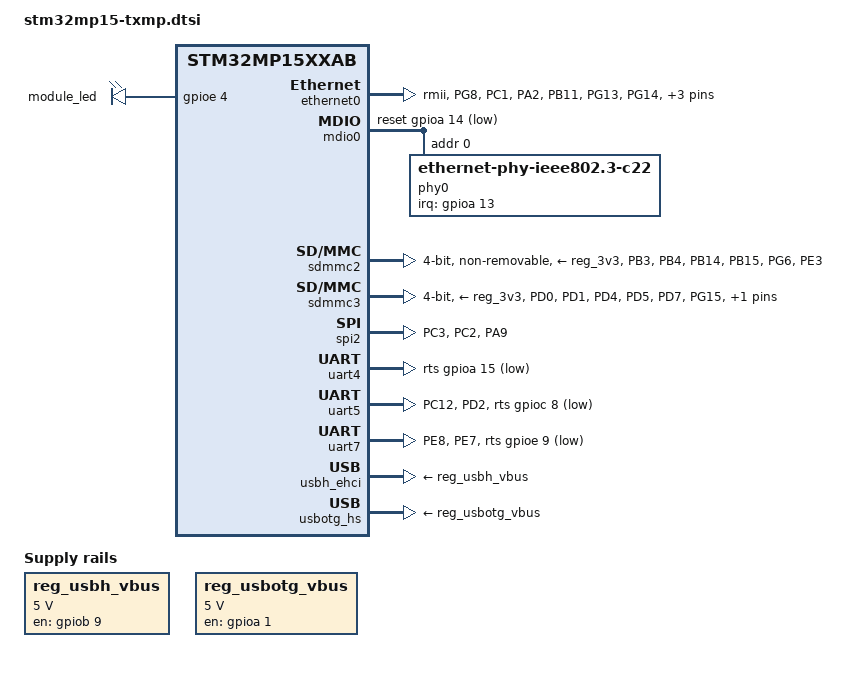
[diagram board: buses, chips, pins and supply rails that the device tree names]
// SPDX-License-Identifier: (GPL-2.0 OR BSD-3-Clause)
/*
 * Copyright (C) 2020 Lothar Waßmann <LW@KARO-electronics.de>
 */

#include <dt-bindings/pinctrl/stm32-pinfunc.h>
#include "stm32mp15xxab-pinctrl.dtsi"
#include "stm32mp15-karo.dtsi"

/ {
	aliases {
		can0 = &m_can2;
		mmc1 = &sdmmc3;
		serial1 = &uart7;
		serial2 = &uart5;
	};

	reg_usbh_vbus: regulator-usbh-vbus {
		compatible = "regulator-fixed";
		regulator-name = "USBH VBUS";
		regulator-min-microvolt = <5000000>;
		regulator-max-microvolt = <5000000>;
		enable-active-high;
		gpio = <&gpiob 9 GPIO_ACTIVE_HIGH>;
		regulator-always-on;
	};

	reg_usbotg_vbus: regulator-usbotg-vbus {
		compatible = "regulator-fixed";
		regulator-name = "USBOTG VBUS";
		regulator-min-microvolt = <5000000>;
		regulator-max-microvolt = <5000000>;
		enable-active-high;
		gpio = <&gpioa 1 GPIO_ACTIVE_HIGH>;
	};
};

&ethernet0 {
	pinctrl-0 = <&txmp_ethernet0_rmii_pins>;
	pinctrl-1 = <&txmp_ethernet0_rmii_sleep_pins>;
	phy-mode = "rmii";
	st,eth-ref-clk-sel;
};

&mdio0 {
	reset-gpios = <&gpioa 14 GPIO_ACTIVE_LOW>;
	reset-delay-us = <10000>;
	post-reset-delay-us = <1000>;

	phy0: ethernet-phy@0 {
		compatible = "ethernet-phy-ieee802.3-c22";
		reg = <0>;
		interrupt-parent = <&gpioa>;
		interrupts = <13 IRQ_TYPE_EDGE_FALLING>;
		smsc,disable-energy-detect;
	};
};

&module_led {
	gpios = <&gpioe 4 GPIO_ACTIVE_HIGH>;
};

&sdmmc2 {
	/* eMMC */
	pinctrl-names = "default", "opendrain", "sleep";
	pinctrl-0 = <&txmp_sdmmc2_pins>;
	pinctrl-1 = <&txmp_sdmmc2_opendrain_pins>;
	pinctrl-2 = <&txmp_sdmmc2_sleep_pins>;
	bus-width = <4>;
	vmmc-supply = <&reg_3v3>;
	no-1-8-v;
	no-sd;
	no-sdio;
	st,neg-edge;
	non-removable;
	status = "okay";
};

&sdmmc3 {
	/* SD card slot */
	pinctrl-names = "default", "opendrain", "sleep";
	pinctrl-0 = <&txmp_sdmmc3_pins>;
	pinctrl-1 = <&txmp_sdmmc3_opendrain_pins>;
	pinctrl-2 = <&txmp_sdmmc3_sleep_pins>;
	cd-gpios = <&gpioc 11 GPIO_ACTIVE_LOW>;
	bus-width = <4>;
	vmmc-supply = <&reg_3v3>;
	no-1-8-v;
	st,neg-edge;
	st,use-ckin;
	status = "okay";
};

&spi2 {
	pinctrl-names = "default", "sleep";
	pinctrl-0 = <&txmp_spi2_pins>;
	pinctrl-1 = <&txmp_spi2_sleep_pins>;
	cs-gpios = <&gpiob 12 GPIO_ACTIVE_LOW>;
	status = "okay";
};

&uart4 {
	/delete-property/ dma-names;
	/delete-property/ dmas;
	rts-gpios = <&gpioa 15 GPIO_ACTIVE_LOW>;
};

&uart5 {
	pinctrl-names = "default", "sleep";
	pinctrl-0 = <&txmp_uart5_pins>;
	pinctrl-1 = <&txmp_uart5_sleep_pins>;
	/delete-property/ dma-names;
	/delete-property/ dmas;
	rts-gpios = <&gpioc 8 GPIO_ACTIVE_LOW>;
	cts-gpios = <&gpioc 9 (GPIO_ACTIVE_LOW | GPIO_PULL_UP)>;
	status = "okay";
};

&uart7 {
	pinctrl-names = "default", "sleep";
	pinctrl-0 = <&txmp_uart7_pins>;
	pinctrl-1 = <&txmp_uart7_sleep_pins>;
	/delete-property/ dma-names;
	/delete-property/ dmas;
	rts-gpios = <&gpioe 9 GPIO_ACTIVE_LOW>;
	cts-gpios = <&gpioe 10 (GPIO_ACTIVE_LOW | GPIO_PULL_UP)>;
	status = "okay";
};

&usbh_ehci {
	vbus-supply = <&reg_usbh_vbus>;
};

&usbotg_hs {
	vbus-supply = <&reg_usbotg_vbus>;
};

&pinctrl {
	txmp_ethernet0_rmii_pins: txmp-ethernet0-rmii-pins {
		pins1 {
			pinmux = <
				  STM32_PINMUX('G', 8, AF2)	/* ETH_CLK */
				  STM32_PINMUX('C', 1, AF11)	/* ETH_MDC */
				  STM32_PINMUX('A', 2, AF11)	/* ETH_MDIO */
				  STM32_PINMUX('B', 11, AF11)	/* ETH_RMII_TX_EN */
				  STM32_PINMUX('G', 13, AF11)	/* ETH_RMII_TXD0 */
				  STM32_PINMUX('G', 14, AF11)	/* ETH_RMII_TXD1 */
			>;
			bias-disable;
			drive-push-pull;
			slew-rate = <2>;
		};

		pins2 {
			pinmux = <
				  STM32_PINMUX('C', 4, AF11)	/* ETH_RMII_RXD0 */
				  STM32_PINMUX('C', 5, AF11)	/* ETH_RMII_RXD1 */
				  STM32_PINMUX('A', 7, AF11)	/* ETH_RMII_CRS_DV */
			>;
			bias-disable;
		};
	};

	txmp_ethernet0_rmii_sleep_pins: txmp-ethernet0-rmii-sleep-pins {
		pins1 {
			pinmux = <
				  STM32_PINMUX('G', 8, ANALOG)	/* ETH_CLK */
				  STM32_PINMUX('G', 13, ANALOG)	/* ETH_RMII_TXD0 */
				  STM32_PINMUX('G', 14, ANALOG)	/* ETH_RMII_TXD1 */
				  STM32_PINMUX('B', 11, ANALOG)	/* ETH_RMII_TX_EN */
				  STM32_PINMUX('A', 2, ANALOG)	/* ETH_MDIO */
				  STM32_PINMUX('C', 1, ANALOG)	/* ETH_MDC */
				  STM32_PINMUX('C', 4, ANALOG)	/* ETH_RMII_RXD0 */
				  STM32_PINMUX('C', 5, ANALOG)	/* ETH_RMII_RXD1 */
				  STM32_PINMUX('A', 7, ANALOG)	/* ETH_RMII_CRS_DV */
			>;
		};
	};

	txmp_sdmmc2_pins: txmp-sdmmc2-pins {
		pins1 {
			pinmux = <
				  STM32_PINMUX('B', 3, AF9)	/* SDMMC2_D2 */
				  STM32_PINMUX('B', 4, AF9)	/* SDMMC2_D3 */
				  STM32_PINMUX('B', 14, AF9)	/* SDMMC2_D0 */
				  STM32_PINMUX('B', 15, AF9)	/* SDMMC2_D1 */
				  STM32_PINMUX('G', 6, AF10)	/* SDMMC2_CMD */
			>;
			bias-disable;
			drive-push-pull;
			slew-rate = <1>;
		};

		pins2 {
			pinmux = <STM32_PINMUX('E', 3, AF9)>; /* SDMMC2_CK */
			bias-disable;
			drive-push-pull;
			slew-rate = <3>;
		};
	};

	txmp_sdmmc2_opendrain_pins: txmp-sdmmc2-opendrain-pins {
		pins1 {
			pinmux = <
				  STM32_PINMUX('G', 6, AF10)	/* SDMMC2_CMD */
			>;
			bias-disable;
			drive-open-drain;
			slew-rate = <1>;
		};

		pins2 {
			pinmux = <
				  STM32_PINMUX('B', 3, AF9)	/* SDMMC2_D2 */
				  STM32_PINMUX('B', 4, AF9)	/* SDMMC2_D3 */
				  STM32_PINMUX('B', 14, AF9)	/* SDMMC2_D0 */
				  STM32_PINMUX('B', 15, AF9)	/* SDMMC2_D1 */
			>;
			bias-disable;
			drive-push-pull;
			slew-rate = <1>;
		};

		pins3 {
			pinmux = <STM32_PINMUX('E', 3, AF9)>; /* SDMMC2_CK */
			bias-disable;
			drive-push-pull;
			slew-rate = <3>;
		};
	};

	txmp_sdmmc2_sleep_pins: txmp-sdmmc2-sleep-pins {
		pins {
			pinmux = <
				  STM32_PINMUX('B', 3, ANALOG)	/* SDMMC2_D2 */
				  STM32_PINMUX('B', 4, ANALOG)	/* SDMMC2_D3 */
				  STM32_PINMUX('B', 14, ANALOG)	/* SDMMC2_D0 */
				  STM32_PINMUX('B', 15, ANALOG)	/* SDMMC2_D1 */
				  STM32_PINMUX('G', 6, ANALOG)	/* SDMMC2_CMD */
				  STM32_PINMUX('E', 3, ANALOG)	/* SDMMC2_CK */
			>;
		};
	};

	txmp_sdmmc3_pins: txmp-sdmmc3-pins {
		pins1 {
			pinmux = <
				  STM32_PINMUX('D', 0, AF10)	/* SDMMC3_CMD */
				  STM32_PINMUX('D', 1, AF10)	/* SDMMC3_D0 */
				  STM32_PINMUX('D', 4, AF10)	/* SDMMC3_D1 */
				  STM32_PINMUX('D', 5, AF10)	/* SDMMC3_D2 */
				  STM32_PINMUX('D', 7, AF10)	/* SDMMC3_D3 */
			>;
			bias-disable;
			drive-push-pull;
			slew-rate = <1>;
		};

		pins2 {
			pinmux = <STM32_PINMUX('G', 15, AF10)>; /* SDMMC3_CK */
			bias-disable;
			drive-push-pull;
			slew-rate = <2>;
		};
	};

	txmp_sdmmc3_opendrain_pins: txmp-sdmmc3-opendrain-pins {
		pins1 {
			pinmux = <STM32_PINMUX('D', 0, AF10)>; /* SDMMC3_CMD */
			bias-disable;
			drive-open-drain;
			slew-rate = <1>;
		};

		pins2 {
			pinmux = <
				  STM32_PINMUX('D', 1, AF10) /* SDMMC3_D0 */
				  STM32_PINMUX('D', 4, AF10) /* SDMMC3_D1 */
				  STM32_PINMUX('D', 5, AF10) /* SDMMC3_D2 */
				  STM32_PINMUX('D', 7, AF10) /* SDMMC3_D3 */
			>;
			bias-disable;
			drive-push-pull;
			slew-rate = <1>;
		};

		pins3 {
			pinmux = <STM32_PINMUX('G', 15, AF10)>; /* SDMMC3_CK */
			bias-disable;
			drive-push-pull;
			slew-rate = <3>;
		};
	};

	txmp_sdmmc3_sleep_pins: txmp-sdmmc3-sleep-pins {
		pins {
			pinmux = <
				  STM32_PINMUX('D', 0, ANALOG) /* SDMMC3_CMD */
				  STM32_PINMUX('D', 1, ANALOG) /* SDMMC3_D0 */
				  STM32_PINMUX('D', 4, ANALOG) /* SDMMC3_D1 */
				  STM32_PINMUX('D', 5, ANALOG) /* SDMMC3_D2 */
				  STM32_PINMUX('D', 7, ANALOG) /* SDMMC3_D3 */
				  STM32_PINMUX('G', 15, ANALOG) /* SDMMC3_CK */
			>;
		};
	};

	txmp_spi2_pins: txmp-spi2-pins {
		pins {
			pinmux = <
				  STM32_PINMUX('C', 3, AF5) /* SPI2_MOSI */
				  STM32_PINMUX('C', 2, AF5) /* SPI2_MISO */
				  STM32_PINMUX('A', 9, AF5) /* SPI2_SCK */
			>;
			bias-disable;
			drive-push-pull;
			slew-rate = <1>;
		};
	};

	txmp_spi2_sleep_pins: txmp-spi2-sleep-pins {
		pins {
			pinmux = <
				  STM32_PINMUX('C', 3, ANALOG) /* SPI2_MOSI */
				  STM32_PINMUX('C', 2, ANALOG) /* SPI2_MISO */
				  STM32_PINMUX('A', 9, ANALOG) /* SPI2_SCK */
			>;
		};
	};

	txmp_i2c6_pins: txmp-i2c6-pins {
		pins {
			pinmux = <
				  STM32_PINMUX('A', 11, AF4) /* I2C6_SCL */
				  STM32_PINMUX('A', 12, AF4) /* I2C6_SDA */
			>;
			bias-disable;
			drive-open-drain;
			slew-rate = <0>;
		};
	};

	txmp_i2c6_sleep_pins: txmp-i2c6-sleep-pins {
		pins {
			pinmux = <
				  STM32_PINMUX('A', 11, ANALOG) /* I2C6_SCL */
				  STM32_PINMUX('A', 12, ANALOG) /* I2C6_SDA */
			>;
		};
	};

	txmp_uart5_pins: txmp-uart5-pins {
		pins1 {
			pinmux = <
				  STM32_PINMUX('C', 12, AF8) /* UART5_TX */
			>;
			bias-disable;
			drive-push-pull;
			slew-rate = <0>;
		};

		pins2 {
			pinmux = <
				  STM32_PINMUX('D', 2, AF8) /* UART5_RX */
			>;
			bias-pull-up;
		};
	};

	txmp_uart5_sleep_pins: txmp-uart5-sleep-pins {
		pins {
			pinmux = <
				  STM32_PINMUX('C', 12, ANALOG) /* UART5_TX */
				  STM32_PINMUX('D', 2, ANALOG) /* UART5_RX */
			>;
		};
	};

	txmp_uart5_rtscts_pins: txmp-uart5-rtscts-pins {
		pins1 {
			pinmux = <STM32_PINMUX('C', 8, AF8)>; /* UART5_RTS */
			bias-disable;
			drive-push-pull;
			slew-rate = <0>;
		};

		pins2 {
			pinmux = <STM32_PINMUX('C', 9, AF8)>; /* UART5_CTS */
			bias-pull-up;
		};
	};

	txmp_uart5_rtscts_sleep_pins: txmp-uart5-rtscts-sleep {
		pins {
			pinmux = <
				  STM32_PINMUX('C', 8, ANALOG) /* UART5_RTS */
				  STM32_PINMUX('C', 9, ANALOG) /* UART5_CTS */
			>;
		};
	};

	txmp_uart7_pins: uart7-pins {
		pins1 {
			pinmux = <STM32_PINMUX('E', 8, AF7)>; /* UART7_TX */
			bias-disable;
			drive-push-pull;
			slew-rate = <0>;
		};

		pins2 {
			pinmux = <STM32_PINMUX('E', 7, AF7)>; /* UART7_RX */
			bias-pull-up;
		};
	};

	txmp_uart7_sleep_pins: uart7-sleep-pins {
		pins {
			pinmux = <
				  STM32_PINMUX('E', 8, ANALOG) /* UART7_TX */
				  STM32_PINMUX('E', 7, ANALOG) /* UART7_RX */
			>;
		};
	};

	txmp_uart7_rtscts_pins: uart7-rtscts-pins {
		pins1 {
			pinmux = <STM32_PINMUX('E', 9, AF7)>; /* UART7_RTS */
			bias-disable;
			drive-push-pull;
			slew-rate = <0>;
		};

		pins2 {
			pinmux = <STM32_PINMUX('E', 10, AF7)>; /* UART7_CTS */
			bias-pull-up;
		};
	};

	txmp_uart7_rtscts_sleep_pins: uart7-rtscts-sleep-pins {
		pins {
			pinmux = <
				  STM32_PINMUX('E', 9, ANALOG) /* UART7_RTS */
				  STM32_PINMUX('E', 10, ANALOG) /* UART7_CTS */
			>;
		};
	};
};
